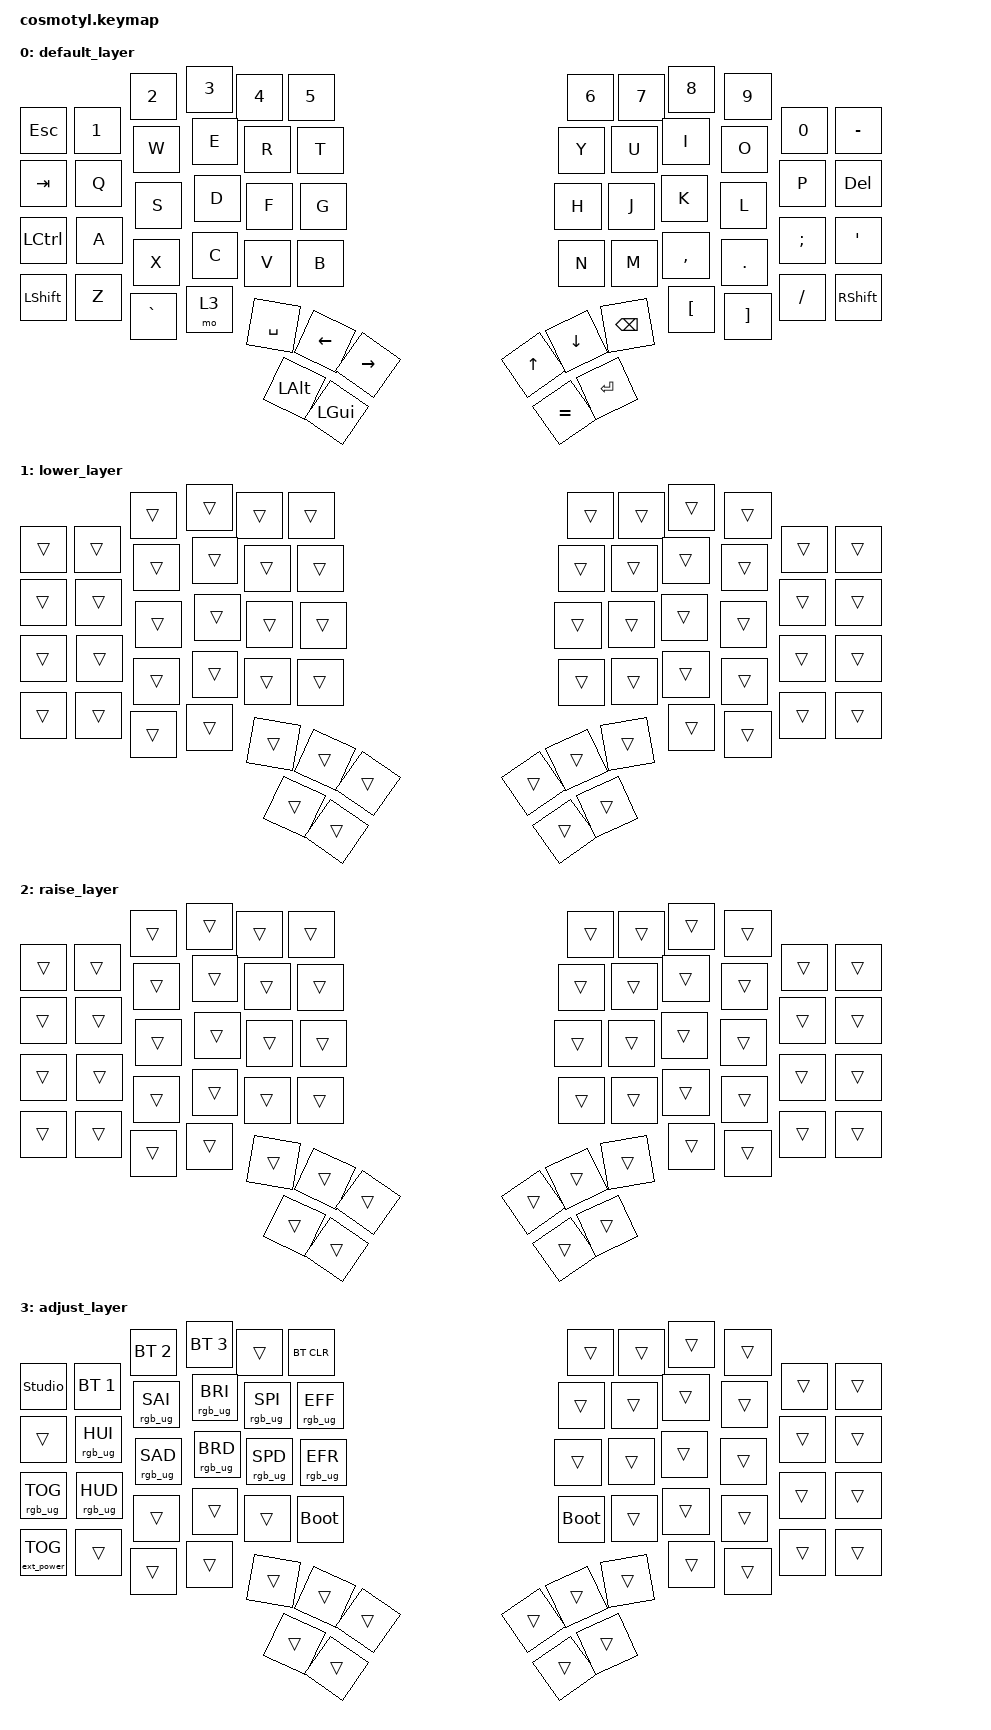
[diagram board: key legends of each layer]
#include <behaviors.dtsi>
#include <dt-bindings/zmk/keys.h>
#include <dt-bindings/zmk/rgb.h>
#include <dt-bindings/zmk/ext_power.h>
#include <dt-bindings/zmk/bt.h>

/ {
    keymap {
        compatible = "zmk,keymap";

        default_layer {
            bindings = <&kp ESC   &kp N1 &kp N2    &kp N3   &kp N4 &kp N5                &kp N6 &kp N7 &kp N8    &kp N9  &kp N0   &kp MINUS 
                        &kp TAB   &kp Q  &kp W     &kp E    &kp R  &kp T                 &kp Y  &kp U  &kp I     &kp O   &kp P    &kp DEL 
                        &kp LCTRL &kp A  &kp S     &kp D    &kp F  &kp G                 &kp H  &kp J  &kp K     &kp L   &kp SEMI &kp SQT 
                        &kp LSHFT &kp Z  &kp X     &kp C    &kp V  &kp B                 &kp N  &kp M  &kp COMMA &kp DOT &kp FSLH &kp RSHFT 
                                         &kp GRAVE &mo 3                                  &kp LBKT &kp RBKT 
                                         &kp SPACE &kp LEFT &kp RIGHT              &kp UP &kp DOWN &kp BACKSPACE 
                                                 &kp LEFT_ALT &kp LEFT_GUI       &kp EQUAL &kp ENTER>;
        };

        lower_layer {
            bindings = <&trans    &trans &trans    &trans   &trans &trans                &trans &trans &trans    &trans  &trans   &trans 
                        &trans    &trans &trans    &trans   &trans &trans                &trans &trans &trans    &trans  &trans   &trans 
                        &trans    &trans &trans    &trans   &trans &trans                &trans &trans &trans    &trans  &trans   &trans 
                        &trans    &trans &trans    &trans   &trans &trans                &trans &trans &trans    &trans  &trans   &trans 
                                         &trans    &trans                                  &trans &trans 
                                         &trans &trans &trans              &trans &trans &trans 
                                                 &trans &trans       &trans &trans>;
        };
        raise_layer {
            bindings = <&trans    &trans &trans    &trans   &trans &trans                &trans &trans &trans    &trans  &trans   &trans 
                        &trans    &trans &trans    &trans   &trans &trans                &trans &trans &trans    &trans  &trans   &trans 
                        &trans    &trans &trans    &trans   &trans &trans                &trans &trans &trans    &trans  &trans   &trans 
                        &trans    &trans &trans    &trans   &trans &trans                &trans &trans &trans    &trans  &trans   &trans 
                                         &trans    &trans                                  &trans &trans 
                                         &trans &trans &trans              &trans &trans &trans 
                                                 &trans &trans       &trans &trans>;
        };
        adjust_layer {
            bindings = <&studio_unlock     &bt BT_SEL 1        &bt BT_SEL 2     &bt BT_SEL 3       &trans               &bt BT_CLR                    &trans      &trans &trans    &trans  &trans   &trans 
                        &trans             &rgb_ug  RGB_HUI    &rgb_ug RGB_SAI  &rgb_ug RGB_BRI    &rgb_ug RGB_SPI      &rgb_ug RGB_EFF               &trans      &trans &trans    &trans  &trans   &trans 
                        &rgb_ug RGB_TOG    &rgb_ug  RGB_HUD    &rgb_ug RGB_SAD  &rgb_ug RGB_BRD    &rgb_ug RGB_SPD      &rgb_ug RGB_EFR               &trans      &trans &trans    &trans  &trans   &trans 
                        &ext_power EP_TOG  &trans              &trans           &trans             &trans               &bootloader                   &bootloader &trans &trans    &trans  &trans   &trans 
                                                           &trans          &trans                                                                      &trans &trans 
                                                           &trans &trans &trans                                                              &trans &trans &trans 
                                                                  &trans &trans                                                           &trans &trans>;
        };
    };
};
